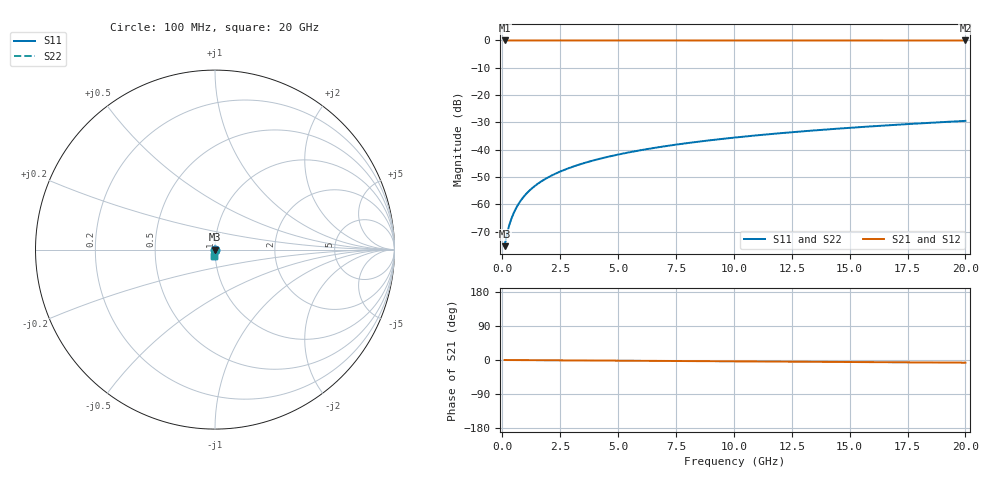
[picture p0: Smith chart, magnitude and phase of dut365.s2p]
! Touchstone file exported from HFSS 2026.1.0
!  File:  C:/ffzhzh/LocalFiles/Ansys_Project_Files/temp_train_TSV_365_1783019436_55676.aedt
!  Generated:  03:12:23 AM Jul  3, 2026
!  Design:  TSV
!  Project:  temp_train_TSV_365_1783019436_55676
! Variables:
!  h_bsmrdl = 2um
!  h_ox = 20um
!  h_rdl = 5um
!  h_sub = 70.47um
!  h_tmrdl = 5um
!  h_tsv = 70.47um
!  h_via = 3um
!  l_bsmrdl = 300um
!  l_sub = 420.66um
!  l_tmrdl = 200um
!  m_sub = 200um
!  pitch = 32.28um
!  r_tsv = 10.33um
!  s_tmrdl = 10um
!  w_bsmrdl = 18um
!  w_sub = 500um
!  w_tmrdl = 12um
!  x_tsv_center1 = 206um
!  x_tsv_center2 = 524um
!  x_tsv_center3 = 736um
!  x_tsv_center4 = 1054um
!  x_tsv_center5 = 1266um
!  x_tsv_center6 = 1584um
# GHz S MA R 50.000000
! Terminal data exported
! Port[1] = TSV1_1_T1
! Port[2] = TSV1_1_T2
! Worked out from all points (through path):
!   200 points, 100 MHz to 20 GHz, reference 50 ohm
!   highest |S21| = 0.00 dB at 100 MHz (marker M1); lowest = 0.0 dB at 20 GHz (marker M2)
!   lowest |S11| = -75.4 dB at 100 MHz (marker M3), VSWR 1.00, Z = 50 - j0.0124 ohm
!   |S11| at or under -10 dB: start of sweep to end of sweep
!   |S22| runs from -75.4 to -29.5 dB; largest |S21 - S12| = 3e-15
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0.1  0.0001703 -46.6  0.9999 -0.0  0.9999 -0.0  0.0001703 -46.6
! Gamma 0 0 0 0
! Port Impedance 50 0 50 0
0.2  0.000283 -62.6  0.9999 -0.1  0.9999 -0.1  0.000283 -62.6
0.3  0.0004128 -68.7  0.9998 -0.1  0.9998 -0.1  0.0004128 -68.7
0.4  0.0005527 -71.7  0.9998 -0.1  0.9998 -0.1  0.0005527 -71.7
0.5  0.0007001 -73.6  0.9998 -0.2  0.9998 -0.2  0.0007001 -73.6
0.6  0.0008532 -75.0  0.9998 -0.2  0.9998 -0.2  0.0008532 -75.0
0.8  0.00117 -77.1  0.9997 -0.3  0.9997 -0.3  0.00117 -77.1
1.1  0.001659 -79.4  0.9997 -0.4  0.9997 -0.4  0.001659 -79.4
1.3  0.001987 -80.6  0.9997 -0.5  0.9997 -0.5  0.001987 -80.6
1.5  0.002316 -81.5  0.9996 -0.5  0.9996 -0.5  0.002316 -81.5
1.8  0.00281 -82.7  0.9996 -0.7  0.9996 -0.7  0.00281 -82.7
2.1  0.003304 -83.6  0.9996 -0.8  0.9996 -0.8  0.003304 -83.6
2.7  0.004293 -84.8  0.9995 -1.0  0.9995 -1.0  0.004293 -84.8
3.5  0.005617 -86.0  0.9995 -1.3  0.9995 -1.3  0.005617 -86.0
4.2  0.006781 -86.7  0.9994 -1.5  0.9994 -1.5  0.006781 -86.7
5  0.00812 -87.4  0.9993 -1.8  0.9993 -1.8  0.00812 -87.4
6.8  0.01115 -88.7  0.9992 -2.4  0.9992 -2.4  0.01115 -88.7
8.3  0.01369 -89.6  0.9991 -2.9  0.9991 -2.9  0.01369 -89.6
10.1  0.01675 -90.5  0.999 -3.6  0.999 -3.6  0.01675 -90.5
13.4  0.02236 -92.1  0.9987 -4.7  0.9987 -4.7  0.02236 -92.1
16.7  0.02798 -93.6  0.9985 -5.9  0.9985 -5.9  0.02798 -93.6
20  0.03361 -94.9  0.9982 -7.1  0.9982 -7.1  0.03361 -94.9
